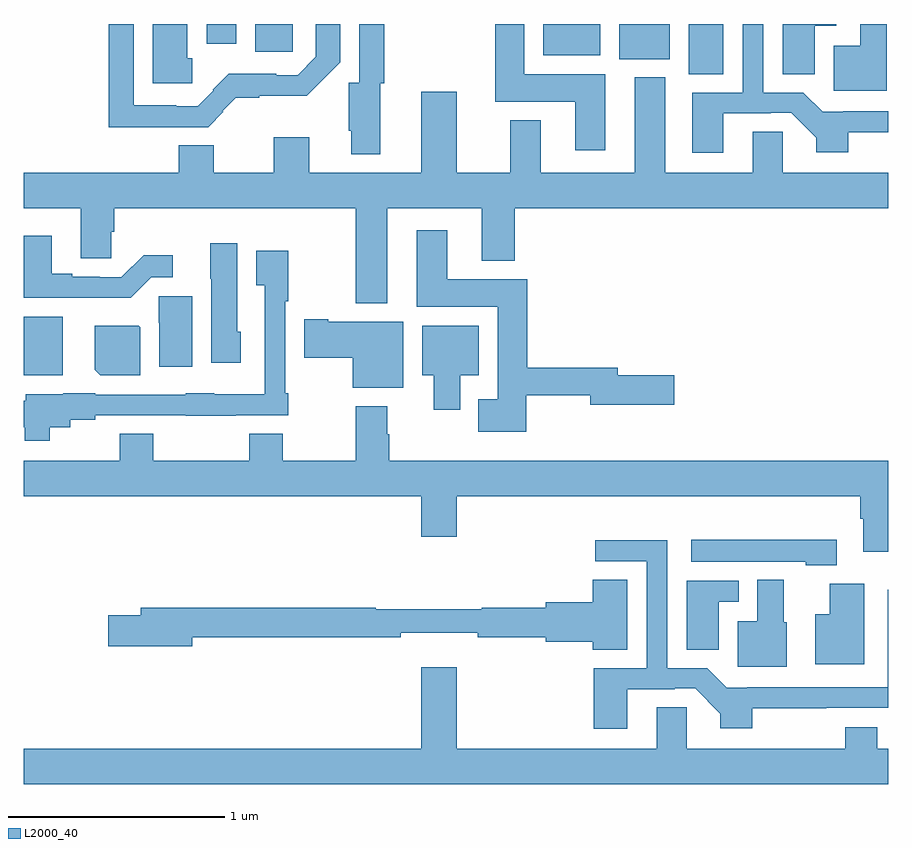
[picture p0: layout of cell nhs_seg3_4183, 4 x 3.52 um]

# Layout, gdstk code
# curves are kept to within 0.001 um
import gdstk
lib = gdstk.Library(unit=1e-6, precision=1e-09)
def R(c, l, rs):  # rectangles x0, y0, x1, y1
    for r in rs: c.add(gdstk.rectangle(r[:2], r[2:], *l))
def P(c, l, *ps):  # polygons
    for p in ps: c.add(gdstk.Polygon(p, *l))
L2000_40 = (2000, 40)

nhs_seg3_4183 = lib.new_cell('nhs_seg3_4183')
R(nhs_seg3_4183, L2000_40, [(331,734.774,331.18,735.046), (334.076,736.168,334.237,736.4), (333.755,736.238,333.988,736.4), (333.404,736.256,333.667,736.4), (332.072,736.272,332.244,736.4), (331.847,736.308,331.984,736.4)])
P(nhs_seg3_4183, L2000_40, [(333.691,736.168),(333.316,736.168),(333.316,736.4),(333.182,736.4),(333.182,736.04),(333.551,736.04),(333.551,735.816),(333.691,735.816)],
  [(334.237,735.987),(334.457,735.987),(334.457,735.99),(334.551,735.99),(334.667,735.874),(334.667,735.806),(334.815,735.806),(334.815,735.899),(335,735.899),(335,735.996),(334.792,735.996),(334.792,735.993),(334.696,735.993),(334.606,736.083),(334.422,736.083),(334.422,736.4),(334.326,736.4),(334.326,736.083),(334.094,736.083),(334.094,735.804),(334.237,735.804)],
  [(331.923,735.993),(331.919,735.997),(331.981,736.059),(332.089,736.059),(332.089,736.067),(332.309,736.067),(332.464,736.224),(332.464,736.4),(332.352,736.4),(332.352,736.248),(332.268,736.164),(332.168,736.164),(332.168,736.169),(331.949,736.169),(331.875,736.095),(331.878,736.092),(331.806,736.02),(331.706,736.02),(331.706,736.024),(331.509,736.024),(331.509,736.4),(331.393,736.4),(331.393,735.923),(331.853,735.923)],
  [(332.65,736.125),(332.669,736.125),(332.669,736.4),(332.553,736.4),(332.553,736.128),(332.504,736.128),(332.504,735.907),(332.516,735.907),(332.516,735.797),(332.65,735.797)],
  [(334.993,736.4),(334.871,736.4),(334.871,736.3),(334.748,736.3),(334.748,736.091),(334.993,736.091)],
  [(334.66,736.392),(334.759,736.392),(334.759,736.4),(334.511,736.4),(334.511,736.168),(334.66,736.168)],
  [(331.779,736.242),(331.756,736.242),(331.756,736.4),(331.598,736.4),(331.598,736.125),(331.779,736.125)],
  [(332.683,735.548),(333.119,735.548),(333.119,735.305),(333.272,735.305),(333.272,735.548),(335,735.548),(335,735.712),(334.512,735.712),(334.512,735.902),(334.373,735.902),(334.373,735.712),(333.967,735.712),(333.967,736.153),(333.827,736.153),(333.827,735.712),(333.391,735.712),(333.391,735.955),(333.251,735.955),(333.251,735.712),(333.004,735.712),(333.004,736.087),(332.84,736.087),(332.84,735.712),(332.32,735.712),(332.32,735.877),(332.156,735.877),(332.156,735.712),(331.879,735.712),(331.879,735.838),(331.718,735.838),(331.718,735.712),(331,735.712),(331,735.548),(331.265,735.548),(331.265,735.316),(331.404,735.316),(331.404,735.438),(331.418,735.438),(331.418,735.548),(332.536,735.548),(332.536,735.107),(332.683,735.107)],
  [(333.324,734.682),(333.62,734.682),(333.62,734.639),(334.009,734.639),(334.009,734.774),(333.748,734.774),(333.748,734.81),(333.329,734.81),(333.329,735.22),(332.959,735.22),(332.959,735.445),(332.819,735.445),(332.819,735.092),(333.194,735.092),(333.194,734.665),(333.104,734.665),(333.104,734.513),(333.324,734.513)],
  [(331.59,735.228),(331.69,735.228),(331.69,735.331),(331.555,735.331),(331.452,735.228),(331.352,735.228),(331.352,735.231),(331.225,735.231),(331.225,735.244),(331.129,735.244),(331.129,735.421),(331,735.421),(331,735.134),(331.495,735.134)],
  [(332.005,734.976),(331.987,734.976),(331.987,735.385),(331.862,735.385),(331.862,735.222),(331.868,735.222),(331.868,734.832),(332.005,734.832)],
  [(331.12,734.534),(331.216,734.534),(331.216,734.57),(331.332,734.57),(331.332,734.589),(331.749,734.589),(331.749,734.588),(331.981,734.588),(331.981,734.589),(332.224,734.589),(332.224,734.692),(332.211,734.692),(332.211,735.118),(332.224,735.118),(332.224,735.352),(332.075,735.352),(332.075,735.191),(332.115,735.191),(332.115,734.686),(331.881,734.686),(331.881,734.692),(331.749,734.692),(331.749,734.685),(331.332,734.685),(331.332,734.692),(331.182,734.692),(331.182,734.686),(331.01,734.686),(331.01,734.656),(331,734.656),(331,734.534),(331.006,734.534),(331.006,734.471),(331.12,734.471)],
  [(331.78,735.141),(331.624,735.141),(331.624,735.018),(331.628,735.018),(331.628,734.814),(331.78,734.814)],
  [(332.755,735.022),(332.41,735.022),(332.41,735.035),(332.298,735.035),(332.298,734.857),(332.522,734.857),(332.522,734.717),(332.755,734.717)],
  [(331.54,734.996),(331.532,735.004),(331.328,735.004),(331.328,734.8),(331.354,734.774),(331.54,734.774)],
  [(333.019,734.774),(333.106,734.774),(333.106,735.004),(332.843,735.004),(332.843,734.774),(332.897,734.774),(332.897,734.616),(333.019,734.616)],
  [(335,734.38),(332.691,734.38),(332.691,734.501),(332.683,734.501),(332.683,734.632),(332.536,734.632),(332.536,734.38),(332.199,734.38),(332.199,734.504),(332.044,734.504),(332.044,734.38),(331.599,734.38),(331.599,734.504),(331.444,734.504),(331.444,734.38),(331,734.38),(331,734.216),(332.84,734.216),(332.84,734.028),(333.004,734.028),(333.004,734.216),(334.871,734.216),(334.871,734.11),(334.883,734.11),(334.883,733.959),(335,733.959)],
  [(334.762,734.014),(334.089,734.014),(334.089,733.913),(334.617,733.913),(334.617,733.895),(334.762,733.895)],
  [(333.793,733.323),(334.013,733.323),(334.013,733.326),(334.107,733.326),(334.223,733.21),(334.223,733.142),(334.371,733.142),(334.371,733.235),(335,733.236),(335,733.783),(334.998,733.783),(334.997,733.332),(334.348,733.332),(334.348,733.329),(334.252,733.329),(334.162,733.419),(333.978,733.419),(333.978,734.012),(333.645,734.012),(333.645,733.914),(333.882,733.914),(333.882,733.419),(333.638,733.419),(333.638,733.14),(333.793,733.14)],
  [(333.793,733.829),(333.632,733.829),(333.632,733.724),(333.416,733.724),(333.416,733.7),(333.12,733.7),(333.12,733.693),(332.628,733.693),(332.628,733.7),(331.541,733.7),(331.541,733.664),(331.392,733.664),(331.392,733.522),(331.78,733.522),(331.78,733.564),(332.744,733.564),(332.744,733.583),(333.1,733.583),(333.1,733.564),(333.416,733.564),(333.416,733.541),(333.632,733.541),(333.632,733.504),(333.793,733.504)],
  [(334.531,733.632),(334.516,733.632),(334.516,733.828),(334.394,733.828),(334.394,733.636),(334.304,733.636),(334.304,733.427),(334.531,733.427)],
  [(334.216,733.728),(334.309,733.728),(334.309,733.824),(334.067,733.824),(334.067,733.504),(334.216,733.504)],
  [(334.888,733.81),(334.73,733.81),(334.73,733.669),(334.661,733.669),(334.661,733.439),(334.888,733.439)],
  [(335,733.048),(334.948,733.048),(334.948,733.147),(334.801,733.147),(334.801,733.048),(334.068,733.048),(334.068,733.238),(333.929,733.238),(333.929,733.048),(333.004,733.048),(333.004,733.423),(332.84,733.423),(332.84,733.048),(331,733.048),(331,732.884),(335,732.884)])

lib.write_gds('nhs_seg3_4183.gds')
